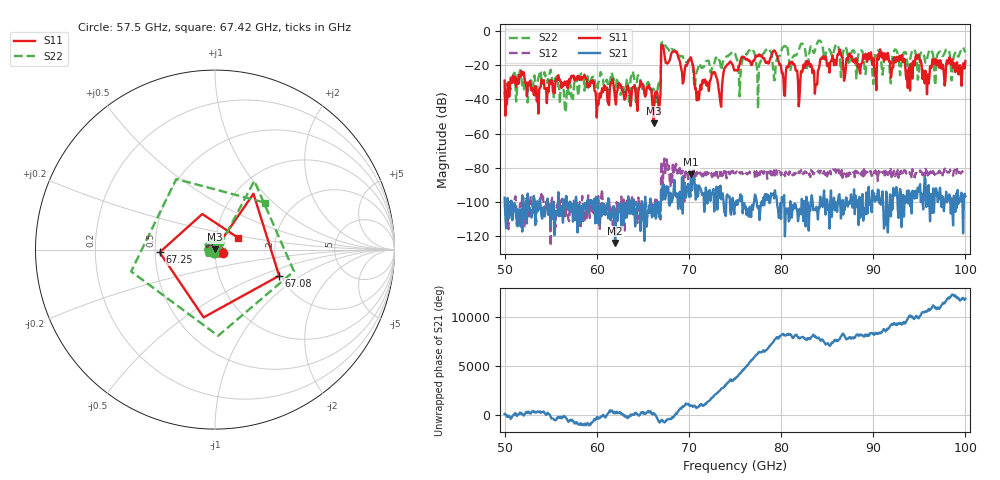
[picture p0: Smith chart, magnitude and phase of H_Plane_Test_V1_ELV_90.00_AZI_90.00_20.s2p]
! 11/27/2026 8:14:31 AM
! C:\ANRITSUVNA\TEMP\TEMP.S2P
! CHANNEL.1
! TR.MEASUREMENT
! RAW.DATA
# HZ S RI R 50.0
! FREQ.HZ  S11RE  S11IM  S21RE  S21IM  S12RE  S12IM  S22RE  S22IM
!; PortSelection: Port_12
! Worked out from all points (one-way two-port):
!   601 points, 50 GHz to 100 GHz, reference 50 ohm
!   highest |S21| = -83.88 dB at 70.25 GHz (marker M1); lowest = -124.0 dB at 62 GHz (marker M2)
!   lowest |S11| = -54.0 dB at 66.17 GHz (marker M3), VSWR 1.00, Z = 50.1 + j0.153 ohm
!   |S11| at or under -10 dB: start of sweep to 67 GHz; 67.24 GHz to end of sweep
!   |S22| runs from -47.7 to -5.6 dB; largest |S21 - S12| = 0.0002
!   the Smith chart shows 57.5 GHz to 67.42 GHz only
!   S11 on the Smith chart (normalised r, x): 57.5 GHz: 1.09, -0.05; 67.08 GHz: 1.96, -0.67; 67.25 GHz: 0.53, -0.02; 67.42 GHz: 1.29, +0.17
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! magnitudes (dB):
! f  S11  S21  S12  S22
! 50 GHz  -29.1  -97.6  -102.7  -35.7
! 51.67 GHz  -26.2  -104.7  -101.5  -23.1
! 53.42 GHz  -34.8  -99.9  -112.1  -35.3
! 57.5 GHz  -26.1  -108.7  -98.6  -34.4
! 58.42 GHz  -27.1  -105.2  -96.5  -24.7
! 62 GHz  -40.3  -124.0  -104.8  -36.0
! 66.17 GHz  -54.0  -105.1  -101.8  -33.9
! 66.67 GHz  -41.7  -99.9  -105.6  -31.6
! 67.08 GHz  -8.3  -91.4  -85.1  -6.8
! 67.25 GHz  -10.2  -89.8  -80.9  -6.3
! 67.42 GHz  -16.7  -98.5  -84.1  -8.4
! 70.25 GHz  -16.0  -83.9  -86.1  -18.8
! 70.92 GHz  -40.5  -97.1  -83.6  -23.0
! 75 GHz  -23.1  -100.4  -83.2  -13.1
! 79.25 GHz  -11.4  -98.0  -81.4  -28.9
! 80.25 GHz  -28.0  -98.4  -83.7  -9.3
! 83.42 GHz  -24.7  -99.8  -82.2  -10.9
! 91.67 GHz  -16.8  -106.7  -81.8  -15.3
! 93.75 GHz  -33.4  -100.8  -83.0  -21.7
! 94.83 GHz  -14.8  -91.6  -82.7  -28.6
! 95.83 GHz  -37.1  -91.9  -82.2  -16.4
! 100 GHz  -17.6  -96.6  -83.4  -12.6
